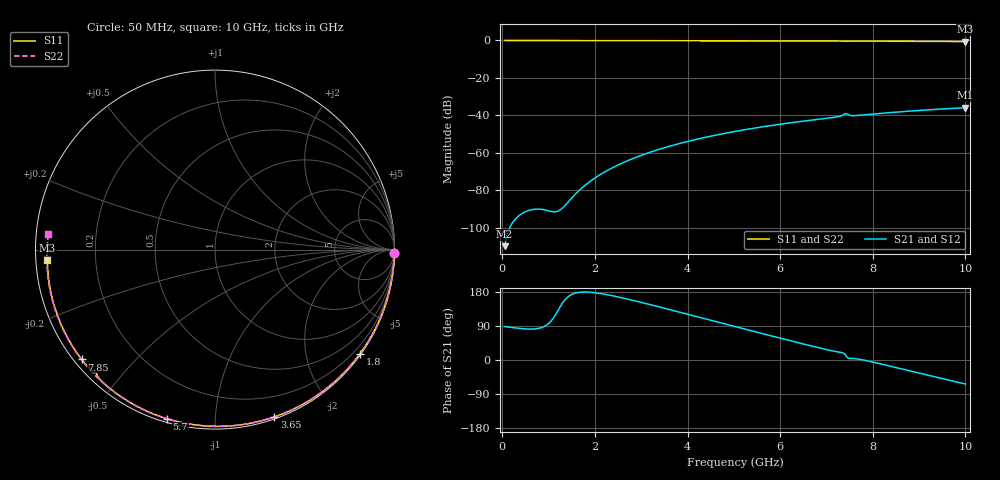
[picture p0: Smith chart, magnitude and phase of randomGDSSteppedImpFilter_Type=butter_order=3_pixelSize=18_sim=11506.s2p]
! freq	dB(S11)	phase(S11)	dB(S12)	phase(S12)
!  dB(S21)	phase(S21)	dB(S22)	phase(S22)
!S-par simulation data
#  GHz  S  DB  R 50
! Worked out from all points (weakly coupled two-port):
!   200 points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, 50 MHz to 10 GHz, reference 50 ohm
!   highest |S21| = -35.94 dB at 10 GHz (marker M1); lowest = -109.9 dB at 50 MHz (marker M2)
!   lowest |S11| = -0.6 dB at 10 GHz (marker M3), VSWR 30.12, Z = 1.66 - j1.58 ohm
!   |S11| at or under -10 dB: nowhere
!   |S22| runs from -0.6 to 0.0 dB; largest |S21 - S12| = 0
!   S11 on the Smith chart (normalised r, x): 50 MHz: open; 1.8 GHz: 0.03, -3.09; 3.65 GHz: 0.02, -1.42; 5.7 GHz: 0.02, -0.76; 7.85 GHz: 0.02, -0.36; 10 GHz: 0.03, -0.03
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0.05  -0.00 -1.0  -109.86 88.4  -109.86 88.4  -0.00 -1.0
0.85  -0.02 -17.1  -90.21 85.7  -90.21 85.7  -0.02 -17.3
1.65  -0.04 -32.9  -80.32 178.5  -80.32 178.5  -0.04 -33.3
1.75  -0.04 -34.9  -78.11 179.4  -78.11 179.4  -0.05 -35.3
1.8  -0.05 -35.8  -77.09 179.5  -77.09 179.5  -0.05 -36.3
2.1  -0.05 -41.6  -71.85 175.9  -71.85 175.9  -0.05 -42.2
2.45  -0.06 -48.3  -67.09 167.7  -67.09 167.7  -0.06 -49.0
2.9  -0.07 -56.7  -62.28 155.0  -62.28 155.0  -0.08 -57.6
3.4  -0.09 -66.0  -58.03 139.8  -58.03 139.8  -0.09 -67.0
3.65  -0.09 -70.5  -56.22 131.9  -56.22 131.9  -0.10 -71.6
4.35  -0.12 -82.9  -51.92 109.7  -51.92 109.7  -0.12 -84.3
5.05  -0.15 -94.9  -48.47 87.5  -48.47 87.5  -0.15 -96.8
5.7  -0.18 -105.8  -45.82 67.0  -45.82 67.0  -0.18 -108.1
6.7  -0.24 -122.2  -42.48 36.2  -42.48 36.2  -0.25 -125.3
7.25  -0.29 -131.2  -40.69 21.3  -40.69 21.3  -0.29 -134.7
7.4  -0.40 -133.8  -39.17 15.0  -39.17 15.0  -0.31 -137.3
7.45  -0.42 -133.9  -39.24 6.2  -39.24 6.2  -0.31 -138.2
7.55  -0.33 -135.4  -40.17 4.2  -40.17 4.2  -0.32 -139.9
7.85  -0.33 -140.5  -39.65 -1.4  -39.65 -1.4  -0.35 -145.1
8.35  -0.38 -148.7  -38.58 -15.5  -38.58 -15.5  -0.40 -154.0
9.2  -0.47 -162.7  -37.05 -40.3  -37.05 -40.3  -0.50 -169.6
10  -0.58 -176.4  -35.94 -63.4  -35.94 -63.4  -0.61 174.6
